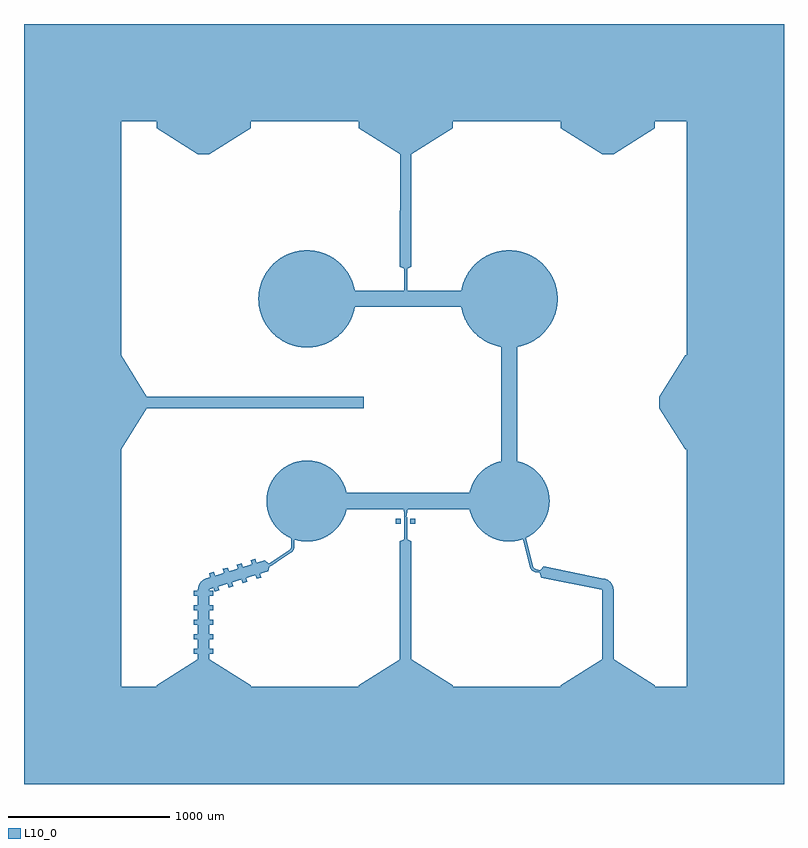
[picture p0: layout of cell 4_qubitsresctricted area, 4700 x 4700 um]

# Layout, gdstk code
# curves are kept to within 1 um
import gdstk
lib = gdstk.Library(unit=1e-6, precision=1e-09)
def R(c, l, rs):  # rectangles x0, y0, x1, y1
    for r in rs: c.add(gdstk.rectangle(r[:2], r[2:], *l))
def A(c, l, x, y, w, h, nx, ny, dx, dy):  # array of equal rectangles
    R(c, l, [(x+i*dx, y+j*dy, x+i*dx+w, y+j*dy+h) for i in range(nx) for j in range(ny)])
def P(c, l, *ps):  # polygons
    for p in ps: c.add(gdstk.Polygon(p, *l))
L10_0 = (10, 0)

c_4_qubitsresctricted_area = lib.new_cell('4_qubitsresctricted area')
A(c_4_qubitsresctricted_area, L10_0, 1051, 805, 30, 30, 1, 5, 0, 90)
A(c_4_qubitsresctricted_area, L10_0, 1141, 805, 30, 30, 1, 5, 0, 90)
R(c_4_qubitsresctricted_area, L10_0, [(2325,770,2395,1500), (2351,1515,2369,1650), (2300,1610,2330,1640), (2390,1610,2420,1640), (1977,1700,2773,1800), (2950,1977,3050,2773), (760,2325,2100,2395), (1977,2950,2773,3050)])
P(c_4_qubitsresctricted_area, L10_0, [(4700,0),(4700,4700),(0,4700),(0,600),(600,600),(600,2069),(760,2325),(760,2395),(600,2651),(600,4100),(820,4100),(820,4055),(1076,3895),(1146,3895),(1402,4055),(1402,4100),(2070,4100),(2070,4055),(2326,3895),(2396,3895),(2652,4055),(2652,4100),(3320,4100),(3320,4055),(3576,3895),(3646,3895),(3902,4055),(3902,4100),(4100,4100),(4100,2651),(4090,2651),(3930,2395),(3930,2325),(4090,2069),(4100,2069),(4100,600),(3902,600),(3902,610),(3646,770),(3576,770),(3320,610),(3320,600),(2652,600),(2652,610),(2396,770),(2326,770),(2070,610),(2070,600),(1402,600),(1402,610),(1146,770),(1076,770),(820,610),(820,600),(0,600),(0,0)],
  [(1750,1750),(2000,1750),(1998.982,1772.538),(1995.936,1794.893),(1990.887,1816.882),(1983.877,1838.326),(1966.506,1875),(1954.356,1894.01),(1940.541,1911.847),(1921.925,1931.499),(1904.862,1946.259),(1886.538,1959.421),(1867.102,1970.878),(1846.712,1980.536),(1821.22,1989.641),(1799.326,1995.086),(1772.538,1998.982),(1750,2000),(1722.97,1998.534),(1700.674,1995.086),(1674.465,1988.316),(1653.288,1980.536),(1628.929,1968.728),(1605.99,1954.356),(1588.153,1940.541),(1568.501,1921.925),(1550.977,1901.294),(1535.786,1878.888),(1523.106,1854.972),(1513.087,1829.825),(1505.845,1803.743),(1501.466,1777.03),(1500,1750)],
  [(1750,1750),(1500,1750),(1501.018,1727.462),(1504.064,1705.107),(1509.113,1683.118),(1516.123,1661.674),(1533.494,1625),(1545.644,1605.99),(1559.459,1588.153),(1578.075,1568.501),(1595.138,1553.741),(1613.462,1540.579),(1632.898,1529.122),(1653.288,1519.464),(1678.78,1510.359),(1700.674,1504.914),(1727.462,1501.018),(1750,1500),(1777.03,1501.466),(1799.326,1504.914),(1825.535,1511.684),(1846.712,1519.464),(1871.071,1531.272),(1894.01,1545.644),(1911.847,1559.459),(1931.499,1578.075),(1949.023,1598.706),(1964.214,1621.112),(1976.894,1645.028),(1986.913,1670.175),(1994.155,1696.257),(1998.534,1722.97),(2000,1750)],
  [(1181.989,1283.294),(1173.146,1311.961),(1144.479,1303.118),(1153.322,1274.451)],
  [(1208.519,1197.293),(1199.675,1225.96),(1171.008,1217.117),(1179.852,1188.45)],
  [(1267.99,1309.824),(1259.146,1338.491),(1230.479,1329.648),(1239.323,1300.981)],
  [(1294.52,1223.823),(1285.676,1252.49),(1257.009,1243.647),(1265.853,1214.98)],
  [(1353.991,1336.353),(1345.147,1365.02),(1316.48,1356.177),(1325.324,1327.51)],
  [(1380.521,1250.352),(1371.677,1279.019),(1343.01,1270.176),(1351.854,1241.509)],
  [(1439.992,1362.883),(1431.148,1391.55),(1402.481,1382.707),(1411.325,1354.04)],
  [(1466.521,1276.882),(1457.678,1305.549),(1429.011,1296.706),(1437.854,1268.039)],
  [(1146,1200.479),(1149.526,1205.257),(1510.317,1316.555),(1489.683,1383.445),(1126.567,1271.388),(1109.107,1262.689),(1092.904,1247.912),(1080.772,1226.805),(1076.04,1202.924),(1076,770),(1146,770)],
  [(1517.281,1344.866),(1511.386,1363.977),(1489.683,1383.445),(1510.317,1316.555)],
  [(1679.397,1626.25),(1679.397,1676.25),(1650.397,1676.25),(1650.397,1626.25),(1654.397,1605.023),(1668.397,1604.987)],
  [(1522.474,1367.283),(1511.681,1363.022),(1516.986,1345.822),(1530.262,1351),(1651.856,1431.816),(1664.184,1444.823),(1670.028,1457.511),(1672.009,1469.331),(1672.397,1604.977),(1654.397,1605.023),(1654.009,1469.779),(1652.556,1461.934),(1649.147,1454.719),(1640.236,1445.655)],
  [(3000,1750),(3250,1750),(3248.982,1772.538),(3245.936,1794.893),(3240.887,1816.882),(3233.877,1838.326),(3216.506,1875),(3204.356,1894.01),(3190.541,1911.847),(3171.925,1931.499),(3154.862,1946.259),(3136.538,1959.421),(3117.102,1970.878),(3096.712,1980.536),(3071.22,1989.641),(3049.326,1995.086),(3022.538,1998.982),(3000,2000),(2972.97,1998.534),(2950.674,1995.086),(2924.465,1988.316),(2903.288,1980.536),(2878.929,1968.728),(2855.99,1954.356),(2838.153,1940.541),(2818.501,1921.925),(2800.977,1901.294),(2785.786,1878.888),(2773.106,1854.972),(2763.087,1829.825),(2755.845,1803.743),(2751.466,1777.03),(2750,1750)],
  [(3000,1750),(2750,1750),(2751.018,1727.462),(2754.064,1705.107),(2759.113,1683.118),(2766.123,1661.674),(2783.494,1625),(2795.644,1605.99),(2809.459,1588.153),(2828.075,1568.501),(2845.138,1553.741),(2863.462,1540.579),(2882.898,1529.122),(2903.288,1519.464),(2928.78,1510.359),(2950.674,1504.914),(2977.462,1501.018),(3000,1500),(3027.03,1501.466),(3049.326,1504.914),(3075.535,1511.684),(3096.712,1519.464),(3121.071,1531.272),(3144.01,1545.644),(3161.847,1559.459),(3181.499,1578.075),(3199.023,1598.706),(3214.214,1621.112),(3226.894,1645.028),(3236.913,1670.175),(3244.155,1696.257),(3248.534,1722.97),(3250,1750)],
  [(3646,1197.208),(3645,1209.416),(3642.026,1221.298),(3631.984,1240.865),(3624.065,1250.209),(3614.73,1258.14),(3595.175,1268.205),(3212.864,1345.32),(3199.136,1276.68),(3571.981,1202.111),(3575.057,1200.13),(3576,770),(3646,770)],
  [(3212.864,1345.32),(3193.056,1322.767),(3189.526,1305.117),(3199.136,1276.68)],
  [(3077.86,1611.176),(3086.711,1640.539),(3086.711,1660.539),(3057.711,1660.539),(3057.711,1640.539),(3064.252,1607.883)],
  [(3193.056,1322.767),(3161.498,1330.126),(3153.66,1335.61),(3147.142,1344.65),(3081.748,1612.117),(3064.252,1607.883),(3130.81,1337.082),(3135.926,1328.58),(3144.165,1319.995),(3154.23,1313.649),(3163.587,1310.346),(3189.526,1305.117)],
  [(3000,3000),(3300,3000),(3297.407,3039.362),(3289.671,3078.043),(3276.927,3115.375),(3256.882,3154.958),(3234.33,3187.322),(3207.726,3216.448),(3177.531,3241.832),(3144.267,3263.035),(3117.648,3275.969),(3089.885,3286.218),(3061.247,3293.682),(3032.013,3298.287),(3002.467,3299.99),(2972.898,3298.773),(2943.592,3294.649),(2914.835,3287.658),(2886.907,3277.867),(2860.079,3265.372),(2834.613,3250.294),(2810.757,3232.781),(2788.742,3213.003),(2768.783,3191.151),(2751.074,3167.44),(2735.788,3142.099),(2719.428,3106.204),(2709.085,3073.268),(2702.593,3039.362),(2700,3000)],
  [(3000,3000),(2700,3000),(2702.593,2960.638),(2710.329,2921.957),(2723.073,2884.625),(2743.118,2845.042),(2765.67,2812.678),(2792.274,2783.552),(2822.469,2758.168),(2855.733,2736.965),(2882.352,2724.031),(2910.115,2713.782),(2938.753,2706.318),(2967.987,2701.713),(2997.533,2700.01),(3027.102,2701.227),(3056.408,2705.351),(3085.165,2712.342),(3113.093,2722.133),(3139.921,2734.628),(3165.387,2749.706),(3189.243,2767.219),(3211.258,2786.997),(3231.217,2808.849),(3248.926,2832.56),(3264.212,2857.901),(3280.572,2893.796),(3290.915,2926.732),(3297.407,2960.638),(3300,3000)],
  [(1750,3000),(2050,3000),(2047.407,3039.362),(2039.671,3078.043),(2026.927,3115.375),(2006.882,3154.958),(1984.33,3187.322),(1957.726,3216.448),(1927.531,3241.832),(1894.267,3263.035),(1867.648,3275.969),(1839.885,3286.218),(1811.247,3293.682),(1782.013,3298.287),(1752.467,3299.99),(1722.898,3298.773),(1693.592,3294.649),(1664.835,3287.658),(1636.907,3277.867),(1610.079,3265.372),(1584.613,3250.294),(1560.757,3232.781),(1538.742,3213.003),(1518.783,3191.151),(1501.074,3167.44),(1485.788,3142.099),(1469.428,3106.204),(1459.085,3073.268),(1452.593,3039.362),(1450,3000)],
  [(1750,3000),(1450,3000),(1452.593,2960.638),(1460.329,2921.957),(1473.073,2884.625),(1493.118,2845.042),(1515.67,2812.678),(1542.274,2783.552),(1572.469,2758.168),(1605.733,2736.965),(1632.352,2724.031),(1660.115,2713.782),(1688.753,2706.318),(1717.987,2701.713),(1747.533,2700.01),(1777.102,2701.227),(1806.408,2705.351),(1835.165,2712.342),(1863.093,2722.133),(1889.921,2734.628),(1915.387,2749.706),(1939.243,2767.219),(1961.258,2786.997),(1981.217,2808.849),(1998.926,2832.56),(2014.212,2857.901),(2030.572,2893.796),(2040.915,2926.732),(2047.407,2960.638),(2050,3000)],
  [(2369,1515),(2351,1515),(2325,1500),(2395,1500)],
  [(2376,1721.75),(2376,1741.75),(2347,1741.75),(2347,1721.75),(2351,1650),(2365,1650)],
  [(2396,3894.95),(2326,3895.05),(2325,3200.05),(2395,3199.95)],
  [(2395,3199.95),(2325,3200.05),(2350.978,3185.013),(2368.978,3184.987)],
  [(2376,2990.75),(2366.718,2990.75),(2361.837,3001.268),(2369,3016.002),(2355,3015.999),(2361.837,3001.268),(2356.723,2990.75),(2347,2990.75),(2347,2970.75),(2356.723,2990.75),(2366.718,2990.75),(2376,2970.75)],
  [(2369,3016.002),(2368.964,3174.969),(2368.964,3175.02),(2368.978,3184.987),(2350.978,3185.013),(2350.964,3175.046),(2350.964,3174.965),(2351,3015.998)])

lib.write_gds('4_qubitsresctricted_area.gds')
